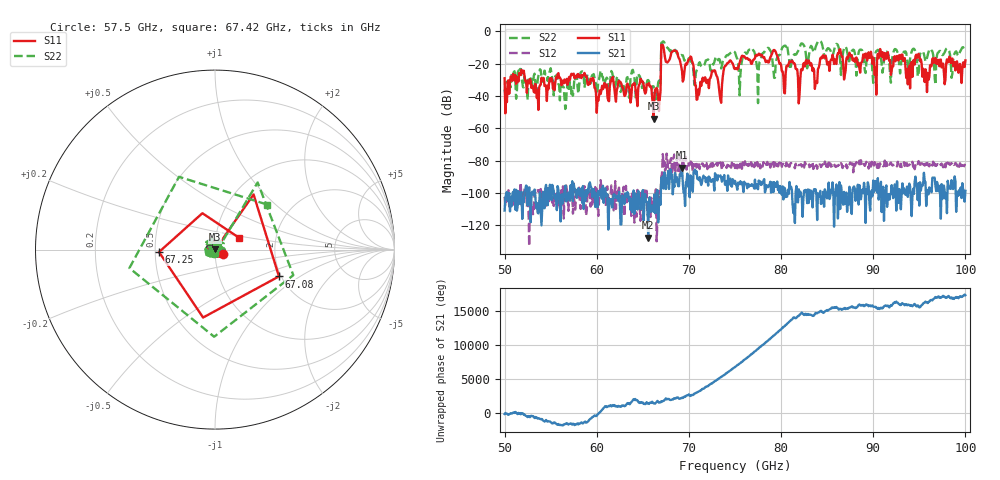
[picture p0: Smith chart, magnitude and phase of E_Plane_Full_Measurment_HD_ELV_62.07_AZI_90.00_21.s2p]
! 11/26/2026 3:25:24 PM
! C:\ANRITSUVNA\TEMP\TEMP.S2P
! CHANNEL.1
! TR.MEASUREMENT
! RAW.DATA
# HZ S RI R 50.0
! FREQ.HZ  S11RE  S11IM  S21RE  S21IM  S12RE  S12IM  S22RE  S22IM
!; PortSelection: Port_12
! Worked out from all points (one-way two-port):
!   601 points, 50 GHz to 100 GHz, reference 50 ohm
!   highest |S21| = -84.47 dB at 69.25 GHz (marker M1); lowest = -127.7 dB at 65.58 GHz (marker M2)
!   lowest |S11| = -54.0 dB at 66.17 GHz (marker M3), VSWR 1.00, Z = 50.1 + j0.144 ohm
!   |S11| at or under -10 dB: start of sweep to 67 GHz; 67.24 GHz to end of sweep
!   |S22| runs from -48.0 to -5.6 dB; largest |S21 - S12| = 0.00019
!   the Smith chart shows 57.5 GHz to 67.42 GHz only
!   S11 on the Smith chart (normalised r, x): 57.5 GHz: 1.09, -0.05; 67.08 GHz: 1.95, -0.68; 67.25 GHz: 0.52, -0.02; 67.42 GHz: 1.29, +0.18
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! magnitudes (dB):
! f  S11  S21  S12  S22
! 50 GHz  -29.0  -111.0  -102.5  -35.8
! 57.5 GHz  -26.2  -94.4  -93.0  -34.7
! 58.42 GHz  -27.2  -106.3  -100.5  -24.7
! 60.17 GHz  -43.0  -98.9  -114.3  -30.4
! 65.58 GHz  -32.5  -127.7  -106.5  -30.1
! 66.17 GHz  -54.0  -111.7  -109.9  -34.0
! 66.67 GHz  -41.5  -118.3  -103.1  -31.7
! 67.08 GHz  -8.3  -91.4  -87.6  -6.8
! 67.25 GHz  -10.1  -97.4  -83.5  -6.2
! 67.42 GHz  -16.6  -88.8  -86.2  -8.3
! 69.25 GHz  -24.4  -84.5  -83.1  -14.8
! 70.25 GHz  -16.0  -90.3  -79.3  -18.8
! 70.92 GHz  -42.0  -91.3  -82.5  -23.1
! 75 GHz  -23.3  -92.6  -84.6  -13.0
! 79.25 GHz  -11.5  -93.4  -85.0  -28.8
! 80.25 GHz  -27.9  -104.0  -82.1  -9.3
! 83.42 GHz  -24.5  -109.0  -80.7  -10.8
! 91.67 GHz  -16.7  -100.8  -81.9  -15.2
! 93.75 GHz  -32.7  -102.4  -82.5  -21.3
! 94.83 GHz  -15.0  -104.5  -82.2  -27.9
! 95.83 GHz  -37.6  -98.7  -80.5  -16.5
! 100 GHz  -17.9  -98.7  -82.9  -12.6
